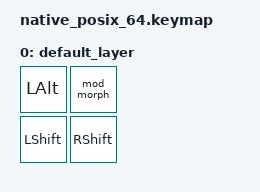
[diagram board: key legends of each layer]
#include <dt-bindings/zmk/keys.h>
#include <behaviors.dtsi>
#include <dt-bindings/zmk/kscan_mock.h>

/ {
    behaviors {
        mod_morph: mod_morph {
            compatible = "zmk,behavior-mod-morph";
            #binding-cells = <0>;
            bindings = <&kp A>, <&kp B>;
            mods = <(MOD_LALT|MOD_LSFT)>;
            keep-mods = <(MOD_LALT)>;
        };
    };

    keymap {
        compatible = "zmk,keymap";

        default_layer {
            bindings = <
                &kp LEFT_ALT &mod_morph
                &kp LEFT_SHIFT &kp RIGHT_SHIFT
            >;
        };
    };
};

&kscan {
    events = <
        ZMK_MOCK_PRESS(0,0,10)
        ZMK_MOCK_PRESS(1,0,10)
        ZMK_MOCK_PRESS(0,1,10)
        ZMK_MOCK_RELEASE(0,1,10)
        ZMK_MOCK_RELEASE(1,0,10)
        ZMK_MOCK_RELEASE(0,0,10)
    >;
};
